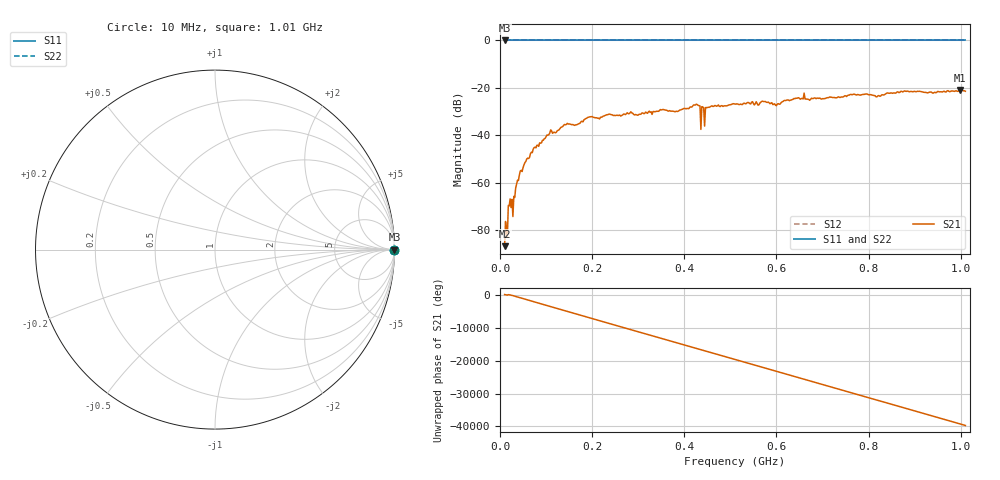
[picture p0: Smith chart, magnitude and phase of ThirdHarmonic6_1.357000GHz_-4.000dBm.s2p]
! 8/16/2025 3:18:04 PM
! C:\ANRITSUVNA\TEMP\TEMP.S2P
! CHANNEL.1
! TR.MEASUREMENT
! RAW.DATA
! RF.CORRECTION.OFF
! AVERAGING.OFF
! IF.BANDWIDTH: 5KHZ
! SWEEPTYPE:  FREQ.SWEEP(Linear)
! Reference Plane Port Info
! PORT:  PORT1  PORT2
! DISTANCE:  0  m  0  m
! TIME:  0  s  0  s
! PHASE.OFFSET:  0  deg.  0  deg.
! LOSS:  0  dB  0  dB
! REF.LOSS:  0  dB  0  dB
! REF.FREQ:  0  Hz  0  Hz
! Power Info
! POWER:  -20  dBm  -20  dBm
! EFF.POWER:  -20  dBm  -20  dBm
! SOURCE.ATTEN:  0  dB  0  dB
! TEST.ATTEN:  0  dB  0  dB
# GHZ S RI R 50.0
! FREQ.GHZ  S11RE  S11IM  S21RE  S21IM  S12RE  S12IM  S22RE  S22IM
!; PortSelection: Port_12
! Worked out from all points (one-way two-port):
!   501 points, 10 MHz to 1.01 GHz, reference 50 ohm
!   highest |S21| = -20.86 dB at 998 MHz (marker M1); lowest = -86.7 dB at 10 MHz (marker M2)
!   lowest |S11| = 0.0 dB at 10 MHz (marker M3)
!   |S11| at or under -10 dB: nowhere
!   |S22| runs from 0.0 to 0.0 dB; largest |S21 - S12| = 1.1
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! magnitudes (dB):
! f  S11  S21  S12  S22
! 10 MHz  0.0  -86.7  0.0  0.0
! 12 MHz  0.0  -76.3  0.0  0.0
! 22 MHz  0.0  -66.8  0.0  0.0
! 28 MHz  0.0  -74.2  0.0  0.0
! 42 MHz  0.0  -56.8  0.0  0.0
! 72 MHz  0.0  -45.8  0.0  0.0
! 108 MHz  0.0  -39.0  0.0  0.0
! 178 MHz  0.0  -34.1  0.0  0.0
! 196 MHz  0.0  -32.2  0.0  0.0
! 344 MHz  0.0  -29.9  0.0  0.0
! 384 MHz  0.0  -29.9  0.0  0.0
! 426 MHz  0.0  -26.9  0.0  0.0
! 440 MHz  0.0  -28.0  0.0  0.0
! 450 MHz  0.0  -28.3  0.0  0.0
! 510 MHz  0.0  -26.8  0.0  0.0
! 572 MHz  0.0  -25.8  0.0  0.0
! 602 MHz  0.0  -26.8  0.0  0.0
! 642 MHz  0.0  -24.4  0.0  0.0
! 678 MHz  0.0  -24.5  0.0  0.0
! 844 MHz  0.0  -22.2  0.0  0.0
! 998 MHz  0.0  -20.9  0.0  0.0
! 1.01 GHz  0.0  -21.4  0.0  0.0
